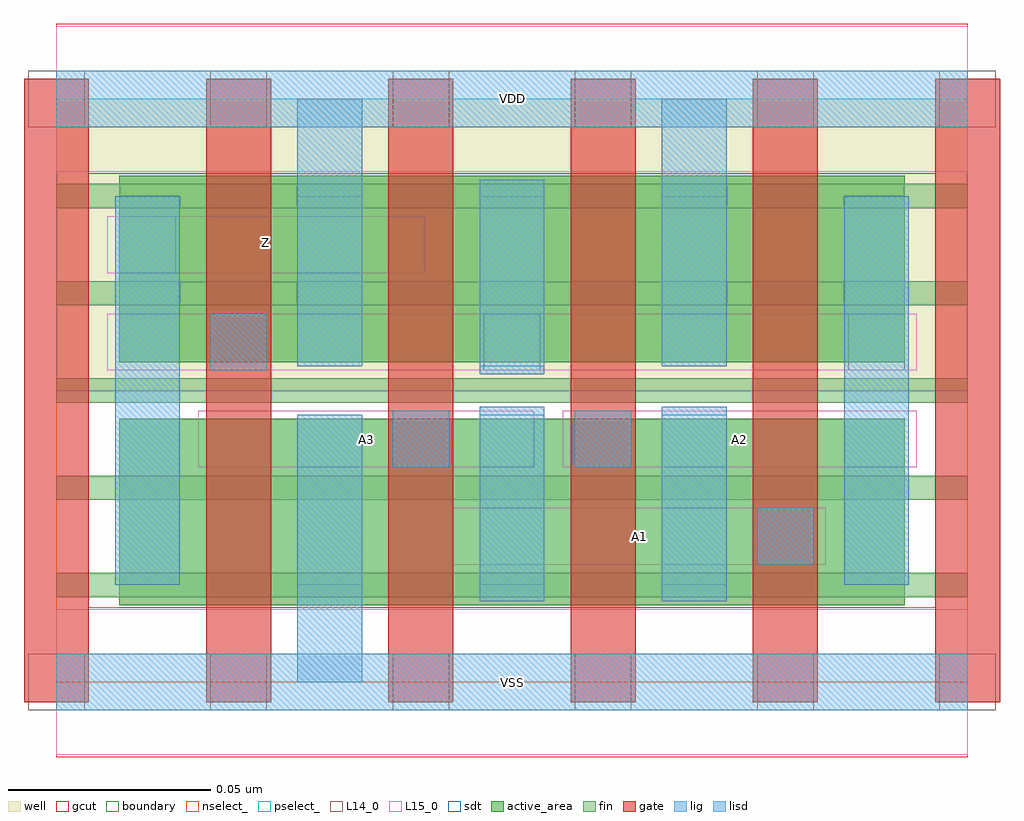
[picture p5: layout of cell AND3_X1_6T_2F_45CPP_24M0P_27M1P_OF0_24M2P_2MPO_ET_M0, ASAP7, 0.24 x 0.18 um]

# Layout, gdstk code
import gdstk
lib = gdstk.Library(unit=1e-6, precision=2.5e-10)
def R(c, l, rs):  # rectangles x0, y0, x1, y1
    for r in rs: c.add(gdstk.rectangle(r[:2], r[2:], *l))
def A(c, l, x, y, w, h, nx, ny, dx, dy):  # array of equal rectangles
    R(c, l, [(x+i*dx, y+j*dy, x+i*dx+w, y+j*dy+h) for i in range(nx) for j in range(ny)])
well = (1, 0)
fin = (2, 0)
gate = (7, 0)
gcut = (10, 0)
active_area = (11, 0)
nselect_ = (12, 0)
pselect_ = (13, 0)
L14_0 = (14, 0)
L15_0 = (15, 0)
lig = (16, 0)
lisd = (17, 0)
sdt = (88, 0)
boundary = (100, 0)

and3_x1_6t_2f_45cpp_24m0 = lib.new_cell('AND3_X1_6T_2F_45CPP_24M0P_27M1P_OF0_24M2P_2MPO_ET_M0')
R(and3_x1_6t_2f_45cpp_24m0, well, [(0,0.072,0.225,0.144)])
A(and3_x1_6t_2f_45cpp_24m0, fin, 0, 0.021, 0.225, 0.006, 1, 5, 0, 0.024)
A(and3_x1_6t_2f_45cpp_24m0, gate, -0.008, -0.005, 0.016, 0.154, 6, 1, 0.045, 0)
R(and3_x1_6t_2f_45cpp_24m0, gcut, [(0,-0.0185,0.225,0.0185), (-0.008,-0.005,0.008,0.149), (0.217,-0.005,0.233,0.149), (0,0.1255,0.225,0.1625)])
A(and3_x1_6t_2f_45cpp_24m0, active_area, 0.0155, 0.019, 0.059, 0.046, 4, 2, 0.045, 0.06)
R(and3_x1_6t_2f_45cpp_24m0, nselect_, [(0,0,0.225,0.072)])
R(and3_x1_6t_2f_45cpp_24m0, pselect_, [(0,0.072,0.225,0.144)])
A(and3_x1_6t_2f_45cpp_24m0, L14_0, -0.007, -0.007, 0.014, 0.014, 6, 2, 0.045, 0.144)
R(and3_x1_6t_2f_45cpp_24m0, L14_0, [(0.173,0.029,0.187,0.043), (0.083,0.053,0.097,0.067), (0.128,0.053,0.142,0.067), (0.038,0.077,0.052,0.091), (0.1055,0.077,0.1195,0.091), (0.1955,0.077,0.2095,0.091), (0.0155,0.101,0.0295,0.115)])
R(and3_x1_6t_2f_45cpp_24m0, L15_0, [(0,-0.018,0.225,0.018), (0.098,0.029,0.19,0.043), (0.035,0.053,0.118,0.067), (0.125,0.053,0.2125,0.067), (0.0125,0.077,0.2125,0.091), (0.0125,0.101,0.091,0.115), (0,0.126,0.225,0.162)])
R(and3_x1_6t_2f_45cpp_24m0, lig, [(0,-0.007,0.225,0.007), (0.173,0.029,0.187,0.043), (0.083,0.053,0.097,0.067), (0.128,0.053,0.142,0.067), (0.038,0.077,0.052,0.091), (0,0.137,0.225,0.151)])
R(and3_x1_6t_2f_45cpp_24m0, lisd, [(0.0595,0,0.0755,0.066), (0.1045,0.02,0.1205,0.068), (0.1495,0.02,0.1655,0.068), (0.0145,0.024,0.0305,0.12), (0.1945,0.024,0.2105,0.12), (0.1045,0.076,0.1205,0.124), (0.0595,0.078,0.0755,0.144), (0.1495,0.078,0.1655,0.144)])
A(and3_x1_6t_2f_45cpp_24m0, sdt, 0.0595, 0.024, 0.016, 0.042, 3, 2, 0.045, 0.054)
R(and3_x1_6t_2f_45cpp_24m0, sdt, [(0.0145,0.024,0.0305,0.12), (0.1945,0.024,0.2105,0.12)])
R(and3_x1_6t_2f_45cpp_24m0, boundary, [(0,0,0.225,0.144)])
and3_x1_6t_2f_45cpp_24m0.add(gdstk.Label('Z', (0.0518,0.1085), layer=15, texttype=251))
and3_x1_6t_2f_45cpp_24m0.add(gdstk.Label('A3', (0.0765,0.06), layer=15, texttype=251))
and3_x1_6t_2f_45cpp_24m0.add(gdstk.Label('A2', (0.1688,0.06), layer=15, texttype=251))
and3_x1_6t_2f_45cpp_24m0.add(gdstk.Label('A1', (0.144,0.036), layer=15, texttype=251))
and3_x1_6t_2f_45cpp_24m0.add(gdstk.Label('VDD', (0.1125,0.144), layer=15, texttype=251))
and3_x1_6t_2f_45cpp_24m0.add(gdstk.Label('VSS', (0.1125,0), layer=15, texttype=251))
and3_x1_6t_2f_45cpp_24m0.add(gdstk.Label('VDD', (0.1125,0.144), layer=1, texttype=251))
and3_x1_6t_2f_45cpp_24m0.add(gdstk.Label('VSS', (0.1125,0), layer=3, texttype=251))

lib.write_gds('AND3_X1_6T_2F_45CPP_24M0P_27M1P_OF0_24M2P_2MPO_ET_M0.gds')
